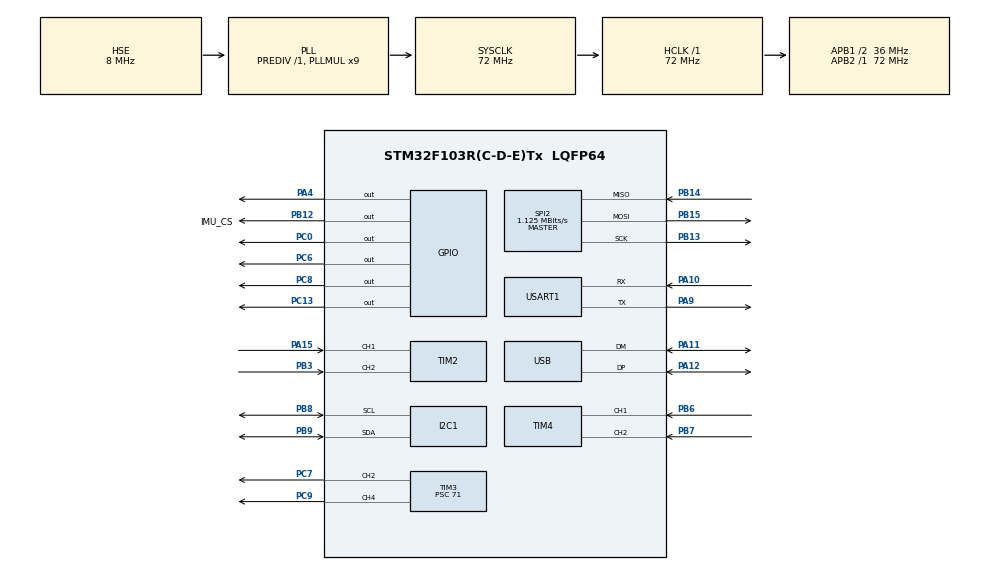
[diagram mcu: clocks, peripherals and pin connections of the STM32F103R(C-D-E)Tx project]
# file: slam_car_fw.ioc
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IWDG.Prescaler=IWDG_PRESCALER_256
IWDG.Reload=625
Mcu.Family=STM32F1
Mcu.Name=STM32F103R(C-D-E)Tx
Mcu.Package=LQFP64
NVIC.PriorityGroup=NVIC_PRIORITYGROUP_4
NVIC.TIM6_IRQn=true\:0\:0\:false\:false\:true\:true\:true\:true
NVIC.TIM7_IRQn=true\:0\:0\:false\:false\:true\:true\:true\:true
NVIC.USART1_IRQn=true\:0\:0\:false\:false\:true\:true\:true\:true
NVIC.USB_LP_CAN1_RX0_IRQn=true\:0\:0\:false\:false\:true\:false\:true\:true
PA10.Mode=Asynchronous
PA10.Signal=USART1_RX
PA11.Mode=Device
PA11.Signal=USB_DM
PA12.Mode=Device
PA12.Signal=USB_DP
PA13.Mode=Serial_Wire
PA13.Signal=SYS_JTMS-SWDIO
PA14.Mode=Serial_Wire
PA14.Signal=SYS_JTCK-SWCLK
PA15.Signal=S_TIM2_CH1_ETR
PA4.Signal=GPIO_Output
PA9.Mode=Asynchronous
PA9.Signal=USART1_TX
PB12.GPIO_Label=IMU_CS
PB12.Signal=GPIO_Output
PB13.Mode=Full_Duplex_Master
PB13.Signal=SPI2_SCK
PB14.Mode=Full_Duplex_Master
PB14.Signal=SPI2_MISO
PB15.Mode=Full_Duplex_Master
PB15.Signal=SPI2_MOSI
PB3.Signal=S_TIM2_CH2
PB6.Signal=S_TIM4_CH1
PB7.Signal=S_TIM4_CH2
PB8.Mode=I2C
PB8.Signal=I2C1_SCL
PB9.Mode=I2C
PB9.Signal=I2C1_SDA
PC0.Signal=GPIO_Output
PC13-TAMPER-RTC.Signal=GPIO_Output
PC6.Signal=GPIO_Output
PC7.Signal=S_TIM3_CH2
PC8.Signal=GPIO_Output
PC9.Signal=S_TIM3_CH4
PD0-OSC_IN.Mode=HSE-External-Oscillator
PD0-OSC_IN.Signal=RCC_OSC_IN
PD1-OSC_OUT.Mode=HSE-External-Oscillator
PD1-OSC_OUT.Signal=RCC_OSC_OUT
ProjectManager.HeapSize=0x200
ProjectManager.StackSize=0x400
ProjectManager.TargetToolchain=STM32CubeIDE
RCC.AHBFreq_Value=72000000
RCC.APB1CLKDivider=RCC_HCLK_DIV2
RCC.APB1Freq_Value=36000000
RCC.APB1TimFreq_Value=72000000
RCC.APB2Freq_Value=72000000
RCC.APB2TimFreq_Value=72000000
RCC.HCLKFreq_Value=72000000
RCC.PLLMUL=RCC_PLL_MUL9
RCC.PLLSourceVirtual=RCC_PLLSOURCE_HSE
RCC.SYSCLKFreq_VALUE=72000000
RCC.SYSCLKSource=RCC_SYSCLKSOURCE_PLLCLK
RCC.USBFreq_Value=72000000
SH.S_TIM2_CH1_ETR.0=TIM2_CH1,Encoder_Interface
SH.S_TIM2_CH2.0=TIM2_CH2,Encoder_Interface
SH.S_TIM3_CH2.0=TIM3_CH2,PWM Generation2 CH2
SH.S_TIM3_CH4.0=TIM3_CH4,PWM Generation4 CH4
SH.S_TIM4_CH1.0=TIM4_CH1,Encoder_Interface
SH.S_TIM4_CH2.0=TIM4_CH2,Encoder_Interface
SPI2.BaudRatePrescaler=SPI_BAUDRATEPRESCALER_32
SPI2.CLKPhase=SPI_PHASE_2EDGE
SPI2.CLKPolarity=SPI_POLARITY_HIGH
SPI2.CalculateBaudRate=1.125 MBits/s
SPI2.Direction=SPI_DIRECTION_2LINES
SPI2.Mode=SPI_MODE_MASTER
SPI2.VirtualType=VM_MASTER
TIM3.Channel-PWM\ Generation2\ CH2=TIM_CHANNEL_2
TIM3.Channel-PWM\ Generation4\ CH4=TIM_CHANNEL_4
TIM3.Period=19999
TIM3.Prescaler=71
TIM6.Period=9
TIM6.Prescaler=71
TIM7.Period=199
TIM7.Prescaler=7199
USART1.VirtualMode=VM_ASYNC
USB_DEVICE.CLASS_NAME_FS=CDC
USB_DEVICE.VirtualMode=Cdc
USB_DEVICE.VirtualModeFS=Cdc_FS
VP_IWDG_VS_IWDG.Mode=IWDG_Activate
VP_TIM3_VS_ClockSourceINT.Mode=Internal
VP_TIM6_VS_ClockSourceINT.Mode=Enable_Timer
VP_TIM7_VS_ClockSourceINT.Mode=Enable_Timer
VP_USB_DEVICE_VS_USB_DEVICE_CDC_FS.Mode=CDC_FS
board=custom

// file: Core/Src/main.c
/* USER CODE BEGIN Header */
/**
  ******************************************************************************
  * @file           : main.c
  * @brief          : Main program body
  * @version        : v77.0 (Odom scale calibrated 0.0004618->0.0005164)
  * @note           :
  * - [v76 修正] yaw 積分死區改為「僅車靜止時套用」。舊版一律套 0.8 deg/s 死區，
  *   把行進中的緩慢轉向整段丟棄，只留下快速抖動 -> 實測推車一趟真值 -7.9 度、
  *   積出 +2.3 度（正負號都反）。原始角速度本身很準（-7.9 度 vs 編碼器 -8.0 度）。
  *   死區不能單純調小：靜止 sigma=0.142 deg/s、bias=-0.058，死區 <5 sigma 會讓雜訊
  *   穿透且負值偏多，靜止 10 分鐘漂 -27 度。故以編碼器判定靜止，動時不套死區。
  * - [v75 安全] IWDG 硬體看門狗：Prescaler 256 / Reload 625 -> 標稱逾時 4.0s。
  *   LSI 最壞 60kHz 時仍有 2.67s，而開機序列 (陀螺儀校正 200 取樣 x 2ms) 僅
  *   約 0.6s，不會開機自我復位。餵狗點在 50Hz heartbeat 內。
  * - [v75 !! 地雷] TIM6 Period=9 與 SPI2 (POLARITY_HIGH/2EDGE/分頻32) 這三個值
  *   歷來只手改 main.c、未回寫 .ioc，任何人按一次 Generate Code 都會被打回
  *   預設值 (TIM6=99 -> 舵機週期變 200ms；SPI2 -> 18MHz mode0，IMU 直接讀不到)。
  *   2026-07-10 已補進 slam_car_fw.ioc，.ioc 現為單一真實來源。
  * - [v74 安全] CMD 逾時除了速度歸零，角速度也歸零。舊版只清 g_target_speed，
  *   會落入「速度≈0 且 |角速度|>0.05」的飽和分支，導致斷線後前輪卡在 ±30度
  *   持續堵轉。馬達本來就會停 (由下方 |v|<0.05 的 PWM 歸零守衛擋住)。
  * - [解析度提升] TIM6 改為 10us 中斷 (原本 100us)。
  * - [效果] 現在可以以 10us (約 1度) 為單位微調舵機中點，不會再亂跳了。
  * - [參數] Odom: 0.0005164f (2026-07-11 八段推車標定 ×1.1182；原 0.0004618 短 11.8%), Servo Center 1462 (2026-06-28 捲尺兩點校正)。
  * - [EKF] FBK 擴充 2 欄位: IMU yaw rate + 積分 yaw (×1000)，供 ROS
  *   robot_localization 融合。格式 $FBK,vL,vR,pwmL,pwmR,gyroZ,yaw,#。
  ******************************************************************************
  */
/* USER CODE END Header */
#include "main.h"
#include "usb_device.h"

/* USER CODE BEGIN Includes */
#include <stdio.h>
#include <string.h>
#include <math.h>
#include <stdlib.h>
/* USER CODE END Includes */

/* USER CODE BEGIN PTD */
typedef struct {
    float Kp;
    float Ki;
    float Kd;
    float deadband;
    float output_alpha;
    float prev_error;
    float prev_prev_error;
    float current_output;
    float out_max;
    float out_min;
} PID_Incremental_TypeDef;
/* USER CODE END PTD */

/* USER CODE BEGIN PD */
#ifndef DISTANCE_PER_COUNT
#define DISTANCE_PER_COUNT  0.0005164f   // 2026-07-11 八段推車標定 (原 0.0004618 短 11.8%)
#endif

const float MAX_SPEED = 1.0f;
const uint32_t MAX_PWM_DUTY = 19999;

const float MIN_STEERING_ANGLE = -30.0f;
const float MAX_STEERING_ANGLE = 30.0f;

const float HEADING_KP = 250.0f;
const int32_t MAX_HEADING_CORRECTION = 5000;

// [v70.0 修改] 提升解析度到 10us
const uint32_t TIM6_TICK_US = 10;        // 原本 100, 改成 10
const uint32_t SERVO_PERIOD_COUNTS = 2000; // 原本 200, 改成 2000 (20ms)

// =========================================================================
// [v70.0 校正] 舵機中點 (Fine Tuning)
// 現在解析度是 10us。
// 建議測試順序: 1400 -> 1410 -> 1420 -> 1430 ...
// 這樣就可以找到從左偏變成右偏的那個 "甜蜜點"
// [2026-06-28 捲尺兩點校正] 1430→偏左2.60° ; 1473→偏右0.85°(方向確認正確)。
//   實測靈敏度 12.4us/deg(連桿非線性，非名目16.6)，線性內插走直中位 = 1462us。
// =========================================================================
const uint32_t SERVO_CENTER_US = 1462;

const int32_t M1_MIN_STARTUP_PWM = 1800;
const int32_t M2_MIN_STARTUP_PWM = 2800;

const float TRACK_WIDTH = 0.14f;
const float WHEEL_BASE_LEN = 0.235f;

const uint32_t CMD_TIMEOUT_MS = 500;

const float DT = 0.02f;

// [v76] yaw 積分死區：**僅在車靜止時**套用。
// 靜止量測（2026-07-10, 15003 筆）：gyro bias -0.058 deg/s、sigma 0.142 deg/s。
// 死區必須 >5 sigma 才擋得住雜訊穿透（否則因 bias 偏負，靜止 10 分鐘會漂 -27 度）。
// 但行進中的緩慢轉向本身就 <0.8 deg/s，若一律套死區會被整段丟棄——實測推車一趟
// 真值 -7.9 度、套死區後積出 +2.3 度（連正負號都反）。故改為靜止才套。
const float GYRO_DEADBAND_DPS = 0.8f;
// 連續多少個 50Hz cycle 完全沒有編碼器計數，才判定為靜止（25 = 0.5 秒）。
// 極慢推車（0.01 m/s）仍約每 2~3 個 cycle 就有 1 個計數，不會誤判為靜止。
const uint8_t STATIONARY_IDLE_CYCLES = 25;

// =========================================================================
// IWDG 反向測試開關（臨時驗證看門狗真的會復位）
//   0 = 正常 v76 行為（本測試碼全部編譯為空，與正式版位元相同）。
//   1 = 啟用：開機印復位來源；收到 $WDGTEST 指令後停止餵狗，約 4s 後應被 IWDG 復位。
//   ⚠ 測完務必改回 0（或 git checkout）再燒正式版。
// =========================================================================
#define IWDG_REVERSE_TEST 0
/* USER CODE END PD */

/* USER CODE BEGIN PM */
#define REG_BANK_SEL    0x7F
#define REG_WHO_AM_I    0x00
#define REG_PWR_MGMT_1  0x06
#define REG_ACCEL_XOUT_H 0x2D

#ifndef M_PI
#define M_PI 3.14159265358979323846f
#endif
/* USER CODE END PM */

I2C_HandleTypeDef hi2c1;

IWDG_HandleTypeDef hiwdg;

SPI_HandleTypeDef hspi2;

TIM_HandleTypeDef htim2;
TIM_HandleTypeDef htim3;
TIM_HandleTypeDef htim4;
TIM_HandleTypeDef htim6;
TIM_HandleTypeDef htim7;

UART_HandleTypeDef huart1;

/* USER CODE BEGIN PV */
volatile float g_target_speed = 0.0f;
volatile float g_target_angular = 0.0f;
volatile float g_lock_yaw = 0.0f;
volatile uint32_t g_last_cmd_time = 0;

#define UART_RX_BUFFER_SIZE 64
uint8_t g_uart_rx_buffer[UART_RX_BUFFER_SIZE];
volatile uint32_t g_uart_rx_index = 0;
volatile uint8_t g_uart_rx_char;

volatile uint8_t g_heartbeat_flag = 0;
volatile uint8_t g_command_ready_flag = 0;

volatile int16_t g_encoder_m1_diff = 0;
volatile int16_t g_encoder_m2_diff = 0;
volatile float g_speed_m1_mps = 0.0f;
volatile float g_speed_m2_mps = 0.0f;

volatile float g_speed_m1_filtered_mps = 0.0f;
volatile float g_speed_m2_filtered_mps = 0.0f;

float g_pos_x = 0.0f;
float g_pos_y = 0.0f;

PID_Incremental_TypeDef g_pid_m1 = {0};
PID_Incremental_TypeDef g_pid_m2 = {0};
volatile int32_t g_motor1_pwm_out = 0;
volatile int32_t g_motor2_pwm_out = 0;

int16_t g_imu_accel[3] = {0};
int16_t g_imu_gyro[3] = {0};
float g_gyro_z_offset = 0.0f;
float g_yaw_angle = 0.0f;
uint32_t g_last_imu_time = 0;
volatile float g_gyro_z_dps = 0.0f;   // [EKF] 校正後 yaw rate (deg/s)，未過死區，供 ROS robot_localization
volatile uint8_t g_stationary = 1;    // [v76] 編碼器連續 0.5s 無計數 = 車靜止；只有靜止時才對 yaw 積分套死區

volatile uint32_t g_servo_pulse_width_us = 1500;

#if IWDG_REVERSE_TEST
volatile uint8_t g_iwdg_starve = 0;   // 反向測試：置 1 後主迴圈停止餵狗
#endif
/* USER CODE END PV */

void SystemClock_Config(void);
static void MX_GPIO_Init(void);
static void MX_I2C1_Init(void);
static void MX_TIM2_Init(void);
static void MX_TIM3_Init(void);
static void MX_TIM7_Init(void);
static void MX_USART1_UART_Init(void);
static void MX_TIM4_Init(void);
static void MX_TIM6_Init(void);
static void MX_SPI2_Init(void);
static void MX_IWDG_Init(void);
/* USER CODE BEGIN PFP */

void process_command(char* cmd);
void update_robot_control(void);
void convert_angle_to_pulse_width(float angle);
uint32_t convert_speed_to_pwm(float speed);
void PID_Inc_Init(PID_Incremental_TypeDef* pid, float kp, float ki, float kd, float deadband, float alpha, float limit);
float PID_Inc_Compute(PID_Incremental_TypeDef* pid, float target, float measured);

// IMU
void ICM_SelectBank(uint8_t bank);
void ICM_WriteByte(uint8_t reg, uint8_t value);
uint8_t ICM_ReadByte(uint8_t reg);
void ICM_ReadBytes(uint8_t reg, uint8_t* pData, uint8_t size);
void ICM_Init(void);
void ICM_ReadRawData(void);
void ICM_CalibrateGyro(void);
void ICM_UpdateAttitude(void);
/* USER CODE END PFP */

/* USER CODE BEGIN 0 */
void PID_Inc_Init(PID_Incremental_TypeDef* pid, float kp, float ki, float kd, float deadband, float alpha, float limit) {
    pid->Kp = kp;
    pid->Ki = ki;
    pid->Kd = kd;
    pid->deadband = deadband;
    pid->output_alpha = alpha;
    pid->prev_error = 0.0f;
    pid->prev_prev_error = 0.0f;
    pid->current_output = 0.0f;
    pid->out_max = limit;
    pid->out_min = -limit;
}

float PID_Inc_Compute(PID_Incremental_TypeDef* pid, float target, float measured) {
    if (target == 0.0f) {
        pid->current_output = 0.0f;
        pid->prev_error = 0.0f;
        pid->prev_prev_error = 0.0f;
        return 0.0f;
    }
    float error = target - measured;
    if (fabsf(error) < pid->deadband) error = 0.0f;
    float delta_output = pid->Kp * (error - pid->prev_error) + pid->Ki * error + pid->Kd * (error - 2.0f * pid->prev_error + pid->prev_prev_error);
    float target_output = pid->current_output + delta_output;
    pid->current_output = pid->output_alpha * target_output + (1.0f - pid->output_alpha) * pid->current_output;
    if (pid->current_output > pid->out_max) pid->current_output = pid->out_max;
    if (pid->current_output < pid->out_min) pid->current_output = pid->out_min;
    pid->prev_prev_error = pid->prev_error;
    pid->prev_error = error;
    return pid->current_output;
}
/* USER CODE END 0 */

int main(void)
{

  /* MCU Configuration--------------------------------------------------------*/

  /* Reset of all peripherals, Initializes the Flash interface and the Systick. */
  HAL_Init();

  /* Configure the system clock */
  SystemClock_Config();

  /* Initialize all configured peripherals */
  MX_GPIO_Init();
  MX_I2C1_Init();
  MX_TIM2_Init();
  MX_TIM3_Init();
  MX_USB_DEVICE_Init();
  MX_TIM7_Init();
  MX_USART1_UART_Init();
  MX_TIM4_Init();
  MX_TIM6_Init();
  MX_SPI2_Init();
  MX_IWDG_Init();
  /* USER CODE BEGIN 2 */
  g_target_speed = 0.0f;
  g_target_angular = 0.0f;
  g_motor1_pwm_out = 0;
  g_motor2_pwm_out = 0;

  // 安全啟動
  HAL_GPIO_WritePin(MOTOR_A_DIR_PORT, MOTOR_A_DIR_PIN, GPIO_PIN_RESET);
  HAL_GPIO_WritePin(MOTOR_B_DIR_PORT, MOTOR_B_DIR_PIN, GPIO_PIN_RESET);
  __HAL_TIM_SET_COMPARE(MOTOR_A_PWM_TIM, MOTOR_A_PWM_CHANNEL, 0);
  __HAL_TIM_SET_COMPARE(MOTOR_B_PWM_TIM, MOTOR_B_PWM_CHANNEL, 0);
  HAL_Delay(50);
  HAL_TIM_PWM_Start(MOTOR_A_PWM_TIM, MOTOR_A_PWM_CHANNEL);
  HAL_TIM_PWM_Start(MOTOR_B_PWM_TIM, MOTOR_B_PWM_CHANNEL);

  HAL_TIM_Base_Start_IT(&htim6);

  printf("\r\n=== STM32 Robot v70.0 (High Res PWM) ===\r\n");

#if IWDG_REVERSE_TEST
  // 反向測試鐵證：RCC 保留上一次的復位來源旗標。若這次開機是被 IWDG 復位的，印出來確認。
  if (__HAL_RCC_GET_FLAG(RCC_FLAG_IWDGRST)) {
      printf("[BOOT] reset cause: IWDG watchdog（看門狗逾時復位＝反向測試成功）\r\n");
  } else {
      printf("[BOOT] reset cause: normal power-on / NRST（非看門狗）\r\n");
  }
  __HAL_RCC_CLEAR_RESET_FLAGS();   // 讀完必清，否則旗標會殘留影響下次判定
#endif

  ICM_Init();
  ICM_CalibrateGyro();

  PID_Inc_Init(&g_pid_m1, 1000.0f, 1000.0f, 0.0f, 0.005f, 1.0f, (float)MAX_PWM_DUTY);
  PID_Inc_Init(&g_pid_m2, 800.0f, 200.0f, 0.0f, 0.005f, 1.0f, (float)MAX_PWM_DUTY);

  convert_angle_to_pulse_width(0.0f);
  update_robot_control();

  g_last_imu_time = HAL_GetTick();
  g_last_cmd_time = HAL_GetTick();

  HAL_TIM_Encoder_Start(&htim2, TIM_CHANNEL_ALL);
  HAL_TIM_Encoder_Start(&htim4, TIM_CHANNEL_ALL);
  HAL_TIM_Base_Start_IT(&htim7); // Heartbeat
  HAL_UART_Receive_IT(&huart1, (uint8_t*)&g_uart_rx_char, 1);
  /* USER CODE END 2 */

  /* Infinite loop */
  /* USER CODE BEGIN WHILE */
  static volatile uint32_t g_heartbeat_counter = 0;
  static int16_t last_encoder_m1 = 0;
  static int16_t last_encoder_m2 = 0;

  while (1)
  {
    /* USER CODE END WHILE */

    /* USER CODE BEGIN 3 */
    if (g_heartbeat_flag == 1)
    {
        g_heartbeat_flag = 0;
        g_heartbeat_counter++;

        // [v75] 餵硬體看門狗。刻意放在 heartbeat 區塊內：TIM7 中斷或主迴圈
        // 任一環卡死 -> 餵不到狗 -> 約 4s 後 MCU 自動復位（PWM 停、舵機回中）。
#if IWDG_REVERSE_TEST
        // 反向測試：$WDGTEST 後 g_iwdg_starve=1，停止餵狗以驗證看門狗確實會復位。
        if (!g_iwdg_starve) {
            HAL_IWDG_Refresh(&hiwdg);
        }
#else
        HAL_IWDG_Refresh(&hiwdg);
#endif

        // Watchdog: 速度與角速度都要歸零。只清速度的話，下方 Ackermann 分支會
        // 命中「|v|<0.05 但 |w|>0.05 -> 舵機飽和 ±30度」，斷線後前輪卡死堵轉。
        if (HAL_GetTick() - g_last_cmd_time > CMD_TIMEOUT_MS) {
            g_target_speed = 0.0f;
            g_target_angular = 0.0f;
        }

        // Encoder
        int16_t current_encoder_m1 = (int16_t)__HAL_TIM_GET_COUNTER(&htim2);
        int16_t current_encoder_m2 = (int16_t)__HAL_TIM_GET_COUNTER(&htim4);
        g_encoder_m1_diff = current_encoder_m1 - last_encoder_m1;
        g_encoder_m2_diff = current_encoder_m2 - last_encoder_m2;
        last_encoder_m1 = current_encoder_m1;
        last_encoder_m2 = current_encoder_m2;

        // [v76] 靜止偵測（供 ICM_UpdateAttitude 決定要不要套 yaw 死區）
        static uint8_t idle_cycles = 0;
        if (g_encoder_m1_diff == 0 && g_encoder_m2_diff == 0) {
            if (idle_cycles < STATIONARY_IDLE_CYCLES) idle_cycles++;
        } else {
            idle_cycles = 0;
        }
        g_stationary = (idle_cycles >= STATIONARY_IDLE_CYCLES);

        g_speed_m1_mps = (float)g_encoder_m1_diff * 50.0f * DISTANCE_PER_COUNT;
        g_speed_m2_mps = (float)g_encoder_m2_diff * 50.0f * DISTANCE_PER_COUNT;

        const float alpha = 0.7f;
        g_speed_m1_filtered_mps = alpha * g_speed_m1_filtered_mps + (1.0f - alpha) * g_speed_m1_mps;
        g_speed_m2_filtered_mps = alpha * g_speed_m2_filtered_mps + (1.0f - alpha) * g_speed_m2_mps;

        // Ackermann Control
        float target_steering_angle_deg = 0.0f;
        if (fabsf(g_target_speed) > 0.05f) {
            float steering_rad = atanf((WHEEL_BASE_LEN * g_target_angular) / g_target_speed);
            target_steering_angle_deg = steering_rad * (180.0f / M_PI);
        } else if (fabsf(g_target_angular) > 0.05f) {
            target_steering_angle_deg = (g_target_angular > 0) ? MAX_STEERING_ANGLE : MIN_STEERING_ANGLE;
        } else {
            target_steering_angle_deg = 0.0f;
        }
        convert_angle_to_pulse_width(target_steering_angle_deg);

        if (fabsf(g_target_speed) < 0.05f) {
            g_motor1_pwm_out = 0;
            g_motor2_pwm_out = 0;
            g_pid_m1.prev_error = 0.0f; g_pid_m1.prev_prev_error = 0.0f; g_pid_m1.current_output = 0.0f;
            g_pid_m2.prev_error = 0.0f; g_pid_m2.prev_prev_error = 0.0f; g_pid_m2.current_output = 0.0f;
            ICM_ReadRawData(); ICM_UpdateAttitude();
        }
        else {
            float target_v_L = g_target_speed - (g_target_angular * TRACK_WIDTH / 2.0f);
            float target_v_R = g_target_speed + (g_target_angular * TRACK_WIDTH / 2.0f);

            int32_t pid_out_m1 = (int32_t)PID_Inc_Compute(&g_pid_m1, target_v_R, g_speed_m1_filtered_mps);
            int32_t pid_out_m2 = (int32_t)PID_Inc_Compute(&g_pid_m2, target_v_L, g_speed_m2_filtered_mps);

            if (target_v_R > 0.01f) pid_out_m1 += M1_MIN_STARTUP_PWM;
            else if (target_v_R < -0.01f) pid_out_m1 -= M1_MIN_STARTUP_PWM;

            if (target_v_L > 0.01f) pid_out_m2 += M2_MIN_STARTUP_PWM;
            else if (target_v_L < -0.01f) pid_out_m2 -= M2_MIN_STARTUP_PWM;

            ICM_ReadRawData(); ICM_UpdateAttitude();

            int32_t m1_final = pid_out_m1;
            int32_t m2_final = pid_out_m2;

            if (m1_final > (int32_t)MAX_PWM_DUTY) m1_final = MAX_PWM_DUTY;
            if (m1_final < -(int32_t)MAX_PWM_DUTY) m1_final = -(int32_t)MAX_PWM_DUTY;
            if (m2_final > (int32_t)MAX_PWM_DUTY) m2_final = MAX_PWM_DUTY;
            if (m2_final < -(int32_t)MAX_PWM_DUTY) m2_final = -(int32_t)MAX_PWM_DUTY;

            g_motor1_pwm_out = m1_final;
            g_motor2_pwm_out = m2_final;
        }

        float v_linear = (g_speed_m1_filtered_mps + g_speed_m2_filtered_mps) / 2.0f;
        float yaw_rad = g_yaw_angle * (M_PI / 180.0f);
        g_pos_x += v_linear * cosf(yaw_rad) * DT;
        g_pos_y += v_linear * sinf(yaw_rad) * DT;

        update_robot_control();

        // [整數協議回傳]
        if (g_heartbeat_counter % 2 == 0) {
            HAL_GPIO_TogglePin(LED_GPIO_Port, LED_Pin);
            // [EKF] 擴充 FBK：附 IMU yaw rate (deg/s) 與積分 yaw (deg)，皆 ×1000 整數
            // 格式: $FBK,vL,vR,pwmL,pwmR,gyroZ_x1000,yaw_x1000,#
            printf("$FBK,%d,%d,%d,%d,%d,%d,#\r\n",
                   (int)(g_speed_m2_filtered_mps * 1000.0f),
                   (int)(g_speed_m1_filtered_mps * 1000.0f),
                   (int)g_motor2_pwm_out,
                   (int)g_motor1_pwm_out,
                   (int)(g_gyro_z_dps * 1000.0f),
                   (int)(g_yaw_angle * 1000.0f));
        }
    }

    if (g_command_ready_flag == 1) {
        g_command_ready_flag = 0;
        process_command((char*)g_uart_rx_buffer);
    }
  }
  /* USER CODE END 3 */
}

void SystemClock_Config(void)
{
  RCC_OscInitTypeDef RCC_OscInitStruct = {0};
  RCC_ClkInitTypeDef RCC_ClkInitStruct = {0};
  RCC_PeriphCLKInitTypeDef PeriphClkInit = {0};

  /** Initializes the RCC Oscillators according to the specified parameters
  * in the RCC_OscInitTypeDef structure.
  */
  RCC_OscInitStruct.OscillatorType = RCC_OSCILLATORTYPE_LSI|RCC_OSCILLATORTYPE_HSE;
  RCC_OscInitStruct.HSEState = RCC_HSE_ON;
  RCC_OscInitStruct.HSEPredivValue = RCC_HSE_PREDIV_DIV1;
  RCC_OscInitStruct.HSIState = RCC_HSI_ON;
  RCC_OscInitStruct.LSIState = RCC_LSI_ON;
  RCC_OscInitStruct.PLL.PLLState = RCC_PLL_ON;
  RCC_OscInitStruct.PLL.PLLSource = RCC_PLLSOURCE_HSE;
  RCC_OscInitStruct.PLL.PLLMUL = RCC_PLL_MUL9;
  if (HAL_RCC_OscConfig(&RCC_OscInitStruct) != HAL_OK)
  {
    Error_Handler();
  }

  /** Initializes the CPU, AHB and APB buses clocks
  */
  RCC_ClkInitStruct.ClockType = RCC_CLOCKTYPE_HCLK|RCC_CLOCKTYPE_SYSCLK
                              |RCC_CLOCKTYPE_PCLK1|RCC_CLOCKTYPE_PCLK2;
  RCC_ClkInitStruct.SYSCLKSource = RCC_SYSCLKSOURCE_PLLCLK;
  RCC_ClkInitStruct.AHBCLKDivider = RCC_SYSCLK_DIV1;
  RCC_ClkInitStruct.APB1CLKDivider = RCC_HCLK_DIV2;
  RCC_ClkInitStruct.APB2CLKDivider = RCC_HCLK_DIV1;

  if (HAL_RCC_ClockConfig(&RCC_ClkInitStruct, FLASH_LATENCY_2) != HAL_OK)
  {
    Error_Handler();
  }
  PeriphClkInit.PeriphClockSelection = RCC_PERIPHCLK_USB;
  PeriphClkInit.UsbClockSelection = RCC_USBCLKSOURCE_PLL;
  if (HAL_RCCEx_PeriphCLKConfig(&PeriphClkInit) != HAL_OK)
  {
    Error_Handler();
  }
}

static void MX_I2C1_Init(void)
{

  hi2c1.Instance = I2C1;
  hi2c1.Init.ClockSpeed = 100000;
  hi2c1.Init.DutyCycle = I2C_DUTYCYCLE_2;
  hi2c1.Init.OwnAddress1 = 0;
  hi2c1.Init.AddressingMode = I2C_ADDRESSINGMODE_7BIT;
  hi2c1.Init.DualAddressMode = I2C_DUALADDRESS_DISABLE;
  hi2c1.Init.OwnAddress2 = 0;
  hi2c1.Init.GeneralCallMode = I2C_GENERALCALL_DISABLE;
  hi2c1.Init.NoStretchMode = I2C_NOSTRETCH_DISABLE;
  if (HAL_I2C_Init(&hi2c1) != HAL_OK)
  {
    Error_Handler();
  }

}

static void MX_IWDG_Init(void)
{

  hiwdg.Instance = IWDG;
  hiwdg.Init.Prescaler = IWDG_PRESCALER_256;
  hiwdg.Init.Reload = 625;
  if (HAL_IWDG_Init(&hiwdg) != HAL_OK)
  {
    Error_Handler();
  }

}

static void MX_SPI2_Init(void)
{

  /* SPI2 parameter configuration*/
  hspi2.Instance = SPI2;
  hspi2.Init.Mode = SPI_MODE_MASTER;
  hspi2.Init.Direction = SPI_DIRECTION_2LINES;
  hspi2.Init.DataSize = SPI_DATASIZE_8BIT;
  hspi2.Init.CLKPolarity = SPI_POLARITY_HIGH;
  hspi2.Init.CLKPhase = SPI_PHASE_2EDGE;
  hspi2.Init.NSS = SPI_NSS_SOFT;
  hspi2.Init.BaudRatePrescaler = SPI_BAUDRATEPRESCALER_32;
  hspi2.Init.FirstBit = SPI_FIRSTBIT_MSB;
  hspi2.Init.TIMode = SPI_TIMODE_DISABLE;
  hspi2.Init.CRCCalculation = SPI_CRCCALCULATION_DISABLE;
  hspi2.Init.CRCPolynomial = 10;
  if (HAL_SPI_Init(&hspi2) != HAL_OK)
  {
    Error_Handler();
  }

}

static void MX_TIM2_Init(void)
{

  TIM_Encoder_InitTypeDef sConfig = {0};
  TIM_MasterConfigTypeDef sMasterConfig = {0};

  htim2.Instance = TIM2;
  htim2.Init.Prescaler = 0;
  htim2.Init.CounterMode = TIM_COUNTERMODE_UP;
  htim2.Init.Period = 65535;
  htim2.Init.ClockDivision = TIM_CLOCKDIVISION_DIV1;
  htim2.Init.AutoReloadPreload = TIM_AUTORELOAD_PRELOAD_DISABLE;
  sConfig.EncoderMode = TIM_ENCODERMODE_TI1;
  sConfig.IC1Polarity = TIM_ICPOLARITY_RISING;
  sConfig.IC1Selection = TIM_ICSELECTION_DIRECTTI;
  sConfig.IC1Prescaler = TIM_ICPSC_DIV1;
  sConfig.IC1Filter = 0;
  sConfig.IC2Polarity = TIM_ICPOLARITY_RISING;
  sConfig.IC2Selection = TIM_ICSELECTION_DIRECTTI;
  sConfig.IC2Prescaler = TIM_ICPSC_DIV1;
  sConfig.IC2Filter = 0;
  if (HAL_TIM_Encoder_Init(&htim2, &sConfig) != HAL_OK)
  {
    Error_Handler();
  }
  sMasterConfig.MasterOutputTrigger = TIM_TRGO_RESET;
  sMasterConfig.MasterSlaveMode = TIM_MASTERSLAVEMODE_DISABLE;
  if (HAL_TIMEx_MasterConfigSynchronization(&htim2, &sMasterConfig) != HAL_OK)
  {
    Error_Handler();
  }

}

static void MX_TIM3_Init(void)
{

  TIM_ClockConfigTypeDef sClockSourceConfig = {0};
  TIM_MasterConfigTypeDef sMasterConfig = {0};
  TIM_OC_InitTypeDef sConfigOC = {0};

  htim3.Instance = TIM3;
  htim3.Init.Prescaler = 71;
  htim3.Init.CounterMode = TIM_COUNTERMODE_UP;
  htim3.Init.Period = 19999;
  htim3.Init.ClockDivision = TIM_CLOCKDIVISION_DIV1;
  htim3.Init.AutoReloadPreload = TIM_AUTORELOAD_PRELOAD_DISABLE;
  if (HAL_TIM_Base_Init(&htim3) != HAL_OK)
  {
    Error_Handler();
  }
  sClockSourceConfig.ClockSource = TIM_CLOCKSOURCE_INTERNAL;
  if (HAL_TIM_ConfigClockSource(&htim3, &sClockSourceConfig) != HAL_OK)
  {
    Error_Handler();
  }
  if (HAL_TIM_PWM_Init(&htim3) != HAL_OK)
  {
    Error_Handler();
  }
  sMasterConfig.MasterOutputTrigger = TIM_TRGO_RESET;
  sMasterConfig.MasterSlaveMode = TIM_MASTERSLAVEMODE_DISABLE;
  if (HAL_TIMEx_MasterConfigSynchronization(&htim3, &sMasterConfig) != HAL_OK)
  {
    Error_Handler();
  }
  sConfigOC.OCMode = TIM_OCMODE_PWM1;
  sConfigOC.Pulse = 0;
  sConfigOC.OCPolarity = TIM_OCPOLARITY_HIGH;
  sConfigOC.OCFastMode = TIM_OCFAST_DISABLE;
  if (HAL_TIM_PWM_ConfigChannel(&htim3, &sConfigOC, TIM_CHANNEL_2) != HAL_OK)
  {
    Error_Handler();
  }
  if (HAL_TIM_PWM_ConfigChannel(&htim3, &sConfigOC, TIM_CHANNEL_4) != HAL_OK)
  {
    Error_Handler();
  }
  HAL_TIM_MspPostInit(&htim3);

}

static void MX_TIM4_Init(void)
{

  TIM_Encoder_InitTypeDef sConfig = {0};
  TIM_MasterConfigTypeDef sMasterConfig = {0};

  htim4.Instance = TIM4;
  htim4.Init.Prescaler = 0;
  htim4.Init.CounterMode = TIM_COUNTERMODE_UP;
  htim4.Init.Period = 65535;
  htim4.Init.ClockDivision = TIM_CLOCKDIVISION_DIV1;
  htim4.Init.AutoReloadPreload = TIM_AUTORELOAD_PRELOAD_DISABLE;
  sConfig.EncoderMode = TIM_ENCODERMODE_TI1;
  sConfig.IC1Polarity = TIM_ICPOLARITY_RISING;
  sConfig.IC1Selection = TIM_ICSELECTION_DIRECTTI;
  sConfig.IC1Prescaler = TIM_ICPSC_DIV1;
  sConfig.IC1Filter = 0;
  sConfig.IC2Polarity = TIM_ICPOLARITY_RISING;
  sConfig.IC2Selection = TIM_ICSELECTION_DIRECTTI;
  sConfig.IC2Prescaler = TIM_ICPSC_DIV1;
  sConfig.IC2Filter = 0;
  if (HAL_TIM_Encoder_Init(&htim4, &sConfig) != HAL_OK)
  {
    Error_Handler();
  }
  sMasterConfig.MasterOutputTrigger = TIM_TRGO_RESET;
  sMasterConfig.MasterSlaveMode = TIM_MASTERSLAVEMODE_DISABLE;
  if (HAL_TIMEx_MasterConfigSynchronization(&htim4, &sMasterConfig) != HAL_OK)
  {
    Error_Handler();
  }

}

static void MX_TIM6_Init(void)
{

  TIM_MasterConfigTypeDef sMasterConfig = {0};

  htim6.Instance = TIM6;
  htim6.Init.Prescaler = 71;
  htim6.Init.CounterMode = TIM_COUNTERMODE_UP;
  htim6.Init.Period = 9;
  htim6.Init.AutoReloadPreload = TIM_AUTORELOAD_PRELOAD_DISABLE;
  if (HAL_TIM_Base_Init(&htim6) != HAL_OK)
  {
    Error_Handler();
  }
  sMasterConfig.MasterOutputTrigger = TIM_TRGO_RESET;
  sMasterConfig.MasterSlaveMode = TIM_MASTERSLAVEMODE_DISABLE;
  if (HAL_TIMEx_MasterConfigSynchronization(&htim6, &sMasterConfig) != HAL_OK)
  {
    Error_Handler();
  }

}

static void MX_TIM7_Init(void)
{

  TIM_MasterConfigTypeDef sMasterConfig = {0};

  htim7.Instance = TIM7;
  htim7.Init.Prescaler = 7199;
  htim7.Init.CounterMode = TIM_COUNTERMODE_UP;
  htim7.Init.Period = 199;
  htim7.Init.AutoReloadPreload = TIM_AUTORELOAD_PRELOAD_DISABLE;
  if (HAL_TIM_Base_Init(&htim7) != HAL_OK)
  {
    Error_Handler();
  }
  sMasterConfig.MasterOutputTrigger = TIM_TRGO_RESET;
  sMasterConfig.MasterSlaveMode = TIM_MASTERSLAVEMODE_DISABLE;
  if (HAL_TIMEx_MasterConfigSynchronization(&htim7, &sMasterConfig) != HAL_OK)
  {
    Error_Handler();
  }

}

static void MX_USART1_UART_Init(void)
{

  huart1.Instance = USART1;
  huart1.Init.BaudRate = 115200;
  huart1.Init.WordLength = UART_WORDLENGTH_8B;
  huart1.Init.StopBits = UART_STOPBITS_1;
  huart1.Init.Parity = UART_PARITY_NONE;
  huart1.Init.Mode = UART_MODE_TX_RX;
  huart1.Init.HwFlowCtl = UART_HWCONTROL_NONE;
  huart1.Init.OverSampling = UART_OVERSAMPLING_16;
  if (HAL_UART_Init(&huart1) != HAL_OK)
  {
    Error_Handler();
  }

}

static void MX_GPIO_Init(void)
{
  GPIO_InitTypeDef GPIO_InitStruct = {0};

  /* GPIO Ports Clock Enable */
  __HAL_RCC_GPIOC_CLK_ENABLE();
  __HAL_RCC_GPIOD_CLK_ENABLE();
  __HAL_RCC_GPIOA_CLK_ENABLE();
  __HAL_RCC_GPIOB_CLK_ENABLE();

  /*Configure GPIO pin Output Level */
  HAL_GPIO_WritePin(GPIOC, GPIO_PIN_13|GPIO_PIN_0|GPIO_PIN_6|GPIO_PIN_8, GPIO_PIN_RESET);

  /*Configure GPIO pin Output Level */
  HAL_GPIO_WritePin(GPIOA, GPIO_PIN_4, GPIO_PIN_RESET);

  /*Configure GPIO pin Output Level */
  HAL_GPIO_WritePin(IMU_CS_GPIO_Port, IMU_CS_Pin, GPIO_PIN_RESET);

  /*Configure GPIO pins : PC13 PC0 PC6 PC8 */
  GPIO_InitStruct.Pin = GPIO_PIN_13|GPIO_PIN_0|GPIO_PIN_6|GPIO_PIN_8;
  GPIO_InitStruct.Mode = GPIO_MODE_OUTPUT_PP;
  GPIO_InitStruct.Pull = GPIO_NOPULL;
  GPIO_InitStruct.Speed = GPIO_SPEED_FREQ_LOW;
  HAL_GPIO_Init(GPIOC, &GPIO_InitStruct);

  /*Configure GPIO pin : PA4 */
  GPIO_InitStruct.Pin = GPIO_PIN_4;
  GPIO_InitStruct.Mode = GPIO_MODE_OUTPUT_PP;
  GPIO_InitStruct.Pull = GPIO_NOPULL;
  GPIO_InitStruct.Speed = GPIO_SPEED_FREQ_LOW;
  HAL_GPIO_Init(GPIOA, &GPIO_InitStruct);

  /*Configure GPIO pin : IMU_CS_Pin */
  GPIO_InitStruct.Pin = IMU_CS_Pin;
  GPIO_InitStruct.Mode = GPIO_MODE_OUTPUT_PP;
  GPIO_InitStruct.Pull = GPIO_NOPULL;
  GPIO_InitStruct.Speed = GPIO_SPEED_FREQ_LOW;
  HAL_GPIO_Init(IMU_CS_GPIO_Port, &GPIO_InitStruct);

}

/* USER CODE BEGIN 4 */

// [手動解析] $CMD,vx,wz,#  (vx/wz 為 m/s、rad/s 各 x1000 的整數)
// ⚠ 必須留在 USER CODE 區塊內。此函式原本寫在 CubeMX 生成區，
//    2026-07-10 一次 Generate Code 就被整個抹除（連結期才會爆）。
void process_command(char* cmd) {
#if IWDG_REVERSE_TEST
    // 反向測試指令：收到 $WDGTEST 就停止餵狗，約 4 秒後 MCU 應被 IWDG 復位。
    if (strncmp(cmd, "$WDGTEST", 8) == 0) {
        g_iwdg_starve = 1;
        printf("[WDGTEST] 停止餵狗，預期約 4 秒後看門狗復位...\r\n");
        return;
    }
#endif
    if (strncmp(cmd, "$CMD", 4) != 0) return;

    char* p1 = strchr(cmd, ',');
    if (p1 == NULL) return;
    p1++;

    char* p2 = strchr(p1, ',');
    if (p2 == NULL) return;

    int vx_int = atoi(p1);
    p2++;
    int wz_int = atoi(p2);

    g_target_speed = (float)vx_int / 1000.0f;
    g_target_angular = (float)wz_int / 1000.0f;
    g_last_cmd_time = HAL_GetTick();
}

// Printf
#ifdef __GNUC__
#define PUTCHAR_PROTOTYPE int __io_putchar(int ch)
#else
#define PUTCHAR_PROTOTYPE int fputc(int ch, FILE *f)
#endif
PUTCHAR_PROTOTYPE {
  HAL_UART_Transmit(&huart1, (uint8_t *)&ch, 1, HAL_MAX_DELAY);
  return ch;
}

// UART Rx Callback
void HAL_UART_RxCpltCallback(UART_HandleTypeDef *huart) {
  if (huart->Instance == USART1) {
    if (g_uart_rx_index < UART_RX_BUFFER_SIZE - 1) {
        if (g_uart_rx_char == '\r' || g_uart_rx_char == '\n') {
            if (g_uart_rx_index > 0) {
                g_uart_rx_buffer[g_uart_rx_index] = '\0';
                g_command_ready_flag = 1;
                g_uart_rx_index = 0;
            }
        } else {
            g_uart_rx_buffer[g_uart_rx_index++] = g_uart_rx_char;
        }
    } else {
        g_uart_rx_index = 0;
    }
    HAL_UART_Receive_IT(&huart1, (uint8_t*)&g_uart_rx_char, 1);
  }
}

// IMU Functions
void ICM_SelectBank(uint8_t bank) {
    uint8_t txData[2] = {REG_BANK_SEL & 0x7F, (bank << 4) & 0x30};
    HAL_GPIO_WritePin(IMU_CS_GPIO_Port, IMU_CS_Pin, GPIO_PIN_RESET);
    HAL_SPI_Transmit(&hspi2, txData, 2, 100);
    HAL_GPIO_WritePin(IMU_CS_GPIO_Port, IMU_CS_Pin, GPIO_PIN_SET);
}

void ICM_WriteByte(uint8_t reg, uint8_t value) {
    uint8_t txData[2] = {reg & 0x7F, value};
    HAL_GPIO_WritePin(IMU_CS_GPIO_Port, IMU_CS_Pin, GPIO_PIN_RESET);
    HAL_SPI_Transmit(&hspi2, txData, 2, 100);
    HAL_GPIO_WritePin(IMU_CS_GPIO_Port, IMU_CS_Pin, GPIO_PIN_SET);
}

uint8_t ICM_ReadByte(uint8_t reg) {
    uint8_t txData = reg | 0x80;
    uint8_t rxData = 0;
    HAL_GPIO_WritePin(IMU_CS_GPIO_Port, IMU_CS_Pin, GPIO_PIN_RESET);
    HAL_SPI_Transmit(&hspi2, &txData, 1, 100);
    HAL_SPI_Receive(&hspi2, &rxData, 1, 100);
    HAL_GPIO_WritePin(IMU_CS_GPIO_Port, IMU_CS_Pin, GPIO_PIN_SET);
    return rxData;
}

void ICM_ReadBytes(uint8_t reg, uint8_t* pData, uint8_t size) {
    uint8_t txData = reg | 0x80;
    HAL_GPIO_WritePin(IMU_CS_GPIO_Port, IMU_CS_Pin, GPIO_PIN_RESET);
    HAL_SPI_Transmit(&hspi2, &txData, 1, 100);
    HAL_SPI_Receive(&hspi2, pData, size, 100);
    HAL_GPIO_WritePin(IMU_CS_GPIO_Port, IMU_CS_Pin, GPIO_PIN_SET);
}

void ICM_Init(void) {
    printf("Initializing ICM-20948...\r\n");
    ICM_SelectBank(0);
    HAL_Delay(10);
    uint8_t whoami = ICM_ReadByte(REG_WHO_AM_I);
    if (whoami == 0xEA) printf("[OK] Device ID: 0x%02X\r\n", whoami);
    else printf("[ERR] Device ID: 0x%02X\r\n", whoami);
    ICM_WriteByte(REG_PWR_MGMT_1, 0x01);
    HAL_Delay(50);
}

void ICM_ReadRawData(void) {
    uint8_t buffer[12];
    ICM_SelectBank(0);
    ICM_ReadBytes(REG_ACCEL_XOUT_H, buffer, 12);
    g_imu_accel[0] = (int16_t)((buffer[0] << 8) | buffer[1]);
    g_imu_accel[1] = (int16_t)((buffer[2] << 8) | buffer[3]);
    g_imu_accel[2] = (int16_t)((buffer[4] << 8) | buffer[5]);
    g_imu_gyro[0]  = (int16_t)((buffer[6] << 8) | buffer[7]);
    g_imu_gyro[1]  = (int16_t)((buffer[8] << 8) | buffer[9]);
    g_imu_gyro[2]  = (int16_t)((buffer[10] << 8) | buffer[11]);
}

void ICM_CalibrateGyro(void) {
    printf("Calibrating Gyro (Don't Move!)...\r\n");
    int32_t sum_z = 0;
    const int samples = 200;
    for (int i = 0; i < samples; i++) {
        ICM_ReadRawData();
        sum_z += g_imu_gyro[2];
        HAL_Delay(2);
    }
    g_gyro_z_offset = (float)sum_z / (float)samples;
    printf("Calibration Done! Offset Z: %.2f\r\n", g_gyro_z_offset);
}

void ICM_UpdateAttitude(void) {
    uint32_t now = HAL_GetTick();
    float dt = (now - g_last_imu_time) / 1000.0f;
    g_last_imu_time = now;
    float gyro_z_raw = (float)g_imu_gyro[2] - g_gyro_z_offset;
    float gyro_z_dps = gyro_z_raw / 131.0f;
    g_gyro_z_dps = gyro_z_dps;   // [EKF] 上傳給 ROS（未過死區，讓濾波器自行處理雜訊）

    // [v76] 死區僅在**車靜止**時套用。靜止時真實角速度必為 0，死區純粹擋雜訊；
    // 車一動，緩慢轉向（典型 <0.8 deg/s）就是真訊號，丟掉會讓 yaw 積出反向結果。
    if (g_stationary && fabsf(gyro_z_dps) < GYRO_DEADBAND_DPS) {
        gyro_z_dps = 0.0f;
    }
    g_yaw_angle += gyro_z_dps * dt;
}

// [補回] update_robot_control
void update_robot_control(void) {
    // --- Motor 1 (Right) ---
    if (g_motor1_pwm_out > 0) {
        HAL_GPIO_WritePin(MOTOR_A_DIR_PORT, MOTOR_A_DIR_PIN, GPIO_PIN_SET);
        __HAL_TIM_SET_COMPARE(MOTOR_A_PWM_TIM, MOTOR_A_PWM_CHANNEL, MAX_PWM_DUTY - g_motor1_pwm_out);
    } else if (g_motor1_pwm_out < 0) {
        HAL_GPIO_WritePin(MOTOR_A_DIR_PORT, MOTOR_A_DIR_PIN, GPIO_PIN_RESET);
        __HAL_TIM_SET_COMPARE(MOTOR_A_PWM_TIM, MOTOR_A_PWM_CHANNEL, abs(g_motor1_pwm_out));
    } else {
        HAL_GPIO_WritePin(MOTOR_A_DIR_PORT, MOTOR_A_DIR_PIN, GPIO_PIN_SET);
        __HAL_TIM_SET_COMPARE(MOTOR_A_PWM_TIM, MOTOR_A_PWM_CHANNEL, MAX_PWM_DUTY);
    }

    // --- Motor 2 (Left) ---
    if (g_motor2_pwm_out > 0) {
        HAL_GPIO_WritePin(MOTOR_B_DIR_PORT, MOTOR_B_DIR_PIN, GPIO_PIN_RESET);
        __HAL_TIM_SET_COMPARE(MOTOR_B_PWM_TIM, MOTOR_B_PWM_CHANNEL, g_motor2_pwm_out);
    } else if (g_motor2_pwm_out < 0) {
        HAL_GPIO_WritePin(MOTOR_B_DIR_PORT, MOTOR_B_DIR_PIN, GPIO_PIN_SET);
        __HAL_TIM_SET_COMPARE(MOTOR_B_PWM_TIM, MOTOR_B_PWM_CHANNEL, MAX_PWM_DUTY - abs(g_motor2_pwm_out));
    } else {
        HAL_GPIO_WritePin(MOTOR_B_DIR_PORT, MOTOR_B_DIR_PIN, GPIO_PIN_SET);
        __HAL_TIM_SET_COMPARE(MOTOR_B_PWM_TIM, MOTOR_B_PWM_CHANNEL, MAX_PWM_DUTY);
    }
}

// 舵機 PWM
void convert_angle_to_pulse_width(float angle) {
    if (angle > MAX_STEERING_ANGLE) angle = MAX_STEERING_ANGLE;
    if (angle < MIN_STEERING_ANGLE) angle = MIN_STEERING_ANGLE;
    // [校正] 反轉計算符號
    float pulse_us = SERVO_CENTER_US - (angle * 16.6f);
    g_servo_pulse_width_us = (uint32_t)pulse_us;
}

uint32_t convert_speed_to_pwm(float speed) {
    if (speed > MAX_SPEED) speed = MAX_SPEED;
    if (speed < 0) speed = 0;
    return (uint32_t)((speed / MAX_SPEED) * MAX_PWM_DUTY);
}

/* USER CODE END 4 */

void Error_Handler(void)
{
  __disable_irq();
  while (1)
  {
  }
}
